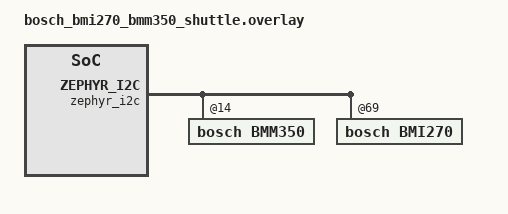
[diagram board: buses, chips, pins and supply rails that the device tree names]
/*
 * Copyright (c) 2026 Espressif Systems (Shanghai) Co., Ltd.
 *
 * SPDX-License-Identifier: Apache-2.0
 */

/ {
	aliases {
		accel0 = &bmi270;
		magn0 = &bmm350;
	};
};

&zephyr_i2c {
	status = "okay";

	bmm350: bmm350@14 {
		compatible = "bosch,bmm350";
		reg = <0x14>;
	};

	bmi270: bmi270@69 {
		compatible = "bosch,bmi270";
		reg = <0x69>;
	};
};
